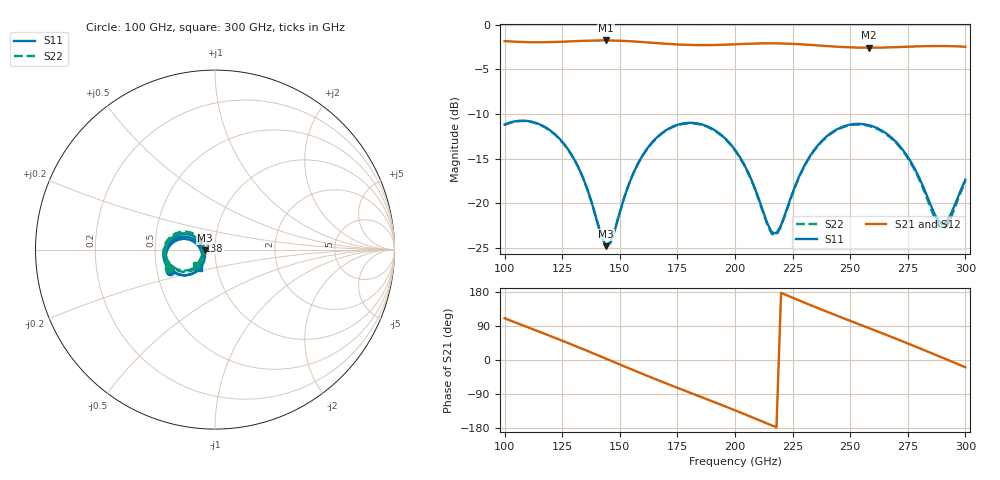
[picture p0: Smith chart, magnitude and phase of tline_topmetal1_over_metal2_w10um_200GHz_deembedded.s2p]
! Created with skrf 2.0.1 (http://scikit-rf.org).
# GHz S DB R 50.0
!freq dBS11 angS11 dBS21 angS21 dBS12 angS12 dBS22 angS22
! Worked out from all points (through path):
!   101 points, 100 GHz to 300 GHz, reference 50 ohm
!   highest |S21| = -1.76 dB at 144 GHz (marker M1); lowest = -2.6 dB at 258 GHz (marker M2)
!   group delay of S21, straight-line fit = 6.8 ps
!   lowest |S11| = -24.8 dB at 144 GHz (marker M3), VSWR 1.12, Z = 44.6 - j0.376 ohm
!   |S11| at or under -10 dB: start of sweep to end of sweep
!   |S22| runs from -24.7 to -10.8 dB; largest |S21 - S12| = 9e-14
!   S11 on the Smith chart (normalised r, x): 100 GHz: 0.59, -0.15; 138 GHz: 0.84, +0.08; 300 GHz: 0.82, -0.17
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100  -11.19 -154.9  -1.83 110.1  -1.83 110.1  -11.22 -158.6
116  -11.25 174.1  -1.96 72.4  -1.96 72.4  -11.29 169.9
126  -13.42 156.5  -1.89 48.5  -1.89 48.5  -13.46 152.1
134  -17.13 147.5  -1.81 28.8  -1.81 28.8  -17.15 143.0
138  -20.11 149.6  -1.78 18.7  -1.78 18.7  -20.10 145.0
144  -24.81 -175.8  -1.76 3.5  -1.76 3.5  -24.72 179.0
146  -24.42 -155.8  -1.77 -1.6  -1.77 -1.6  -24.34 -161.5
158  -15.50 -131.0  -1.91 -32.0  -1.91 -32.0  -15.53 -137.1
168  -12.20 -146.0  -2.10 -56.6  -2.10 -56.6  -12.24 -152.3
184  -11.07 -175.0  -2.28 -94.6  -2.28 -94.6  -11.13 178.1
200  -14.01 158.8  -2.20 -132.8  -2.20 -132.8  -14.08 151.2
210  -19.26 155.6  -2.11 -157.6  -2.11 -157.6  -19.37 147.5
216  -23.27 -177.8  -2.09 -172.8  -2.09 -172.8  -23.46 174.2
218  -23.37 -161.6  -2.09 -177.9  -2.09 -177.9  -23.55 -169.5
226  -18.13 -130.6  -2.16 161.8  -2.16 161.8  -18.21 -138.5
234  -14.16 -135.0  -2.29 141.9  -2.29 141.9  -14.23 -143.5
246  -11.50 -153.6  -2.49 112.8  -2.49 112.8  -11.57 -162.7
258  -11.25 -174.4  -2.58 84.5  -2.58 84.5  -11.33 175.9
268  -12.66 169.5  -2.53 60.7  -2.53 60.7  -12.76 159.2
280  -17.16 159.0  -2.42 31.3  -2.42 31.3  -17.35 147.7
290  -22.36 -167.2  -2.39 6.1  -2.39 6.1  -22.87 -177.6
300  -17.36 -131.4  -2.47 -19.2  -2.47 -19.2  -17.54 -141.0
